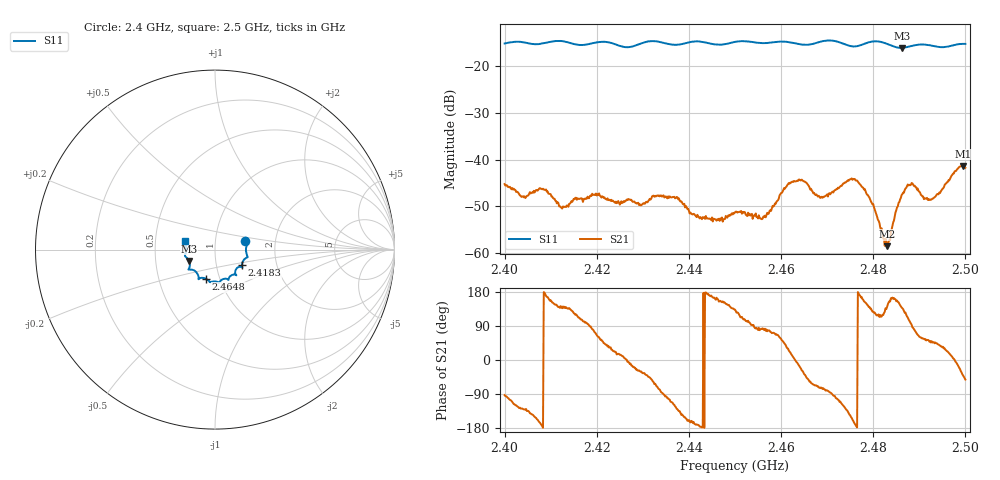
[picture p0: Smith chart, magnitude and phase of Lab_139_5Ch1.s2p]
# Hz S RI R 50
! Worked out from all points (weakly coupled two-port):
!   601 points, 2.4 GHz to 2.5 GHz, reference 50 ohm
!   highest |S21| = -41.35 dB at 2.4995 GHz (marker M1); lowest = -58.5 dB at 2.483 GHz (marker M2)
!   lowest |S11| = -16.1 dB at 2.4862 GHz (marker M3), VSWR 1.37, Z = 37.1 - j4.8 ohm
!   |S11| at or under -10 dB: start of sweep to end of sweep
!   S12 and S22 are empty: the file has one direction only
!   S11 on the Smith chart (normalised r, x): 2.4 GHz: 1.40, +0.13; 2.4183 GHz: 1.33, -0.24; 2.4648 GHz: 0.86, -0.29; 2.5 GHz: 0.71, +0.07
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2.4e9  0.1692 0.0459  -0.000248 -0.00548  0 0  0 0
2.404167e9  0.1783 0.0264  -0.00255 -0.00302  0 0  0 0
2.4085e9  0.1752 -0.0219  -0.00478 7.55e-05  0 0  0 0
2.412333e9  0.1815 -0.0424  -0.00229 0.00203  0 0  0 0
2.416667e9  0.1545 -0.0679  -0.00112 0.0037  0 0  0 0
2.418333e9  0.1499 -0.0869  -6.77e-05 0.00387  0 0  0 0
2.433333e9  0.1174 -0.1411  0.00107 -0.00396  0 0  0 0
2.4425e9  0.0736 -0.1683  -0.00242 -0.000166  0 0  0 0
2.45e9  0.0252 -0.1808  -0.00186 0.002  0 0  0 0
2.456167e9  -0.00185 -0.177  0.000366 0.00244  0 0  0 0
2.4615e9  -0.0308 -0.1792  0.00472 0.00276  0 0  0 0
2.464833e9  -0.0508 -0.1625  0.00497 -0.00318  0 0  0 0
2.466667e9  -0.0714 -0.1572  0.00219 -0.00413  0 0  0 0
2.476167e9  -0.1119 -0.1189  -0.00594 -0.000853  0 0  0 0
2.4795e9  -0.1453 -0.111  -0.00256 0.00249  0 0  0 0
2.483e9  -0.1424 -0.0995  -0.000908 0.000763  0 0  0 0
2.483333e9  -0.1415 -0.0964  -0.00117 0.000627  0 0  0 0
2.486167e9  -0.1442 -0.063  -0.00314 0.00278  0 0  0 0
2.488333e9  -0.159 -0.0442  -0.000315 0.00562  0 0  0 0
2.492667e9  -0.1647 -0.023  0.00243 0.00286  0 0  0 0
2.4995e9  -0.1679 0.0447  0.0065 -0.00557  0 0  0 0
2.5e9  -0.1672 0.0467  0.00508 -0.00641  0 0  0 0
